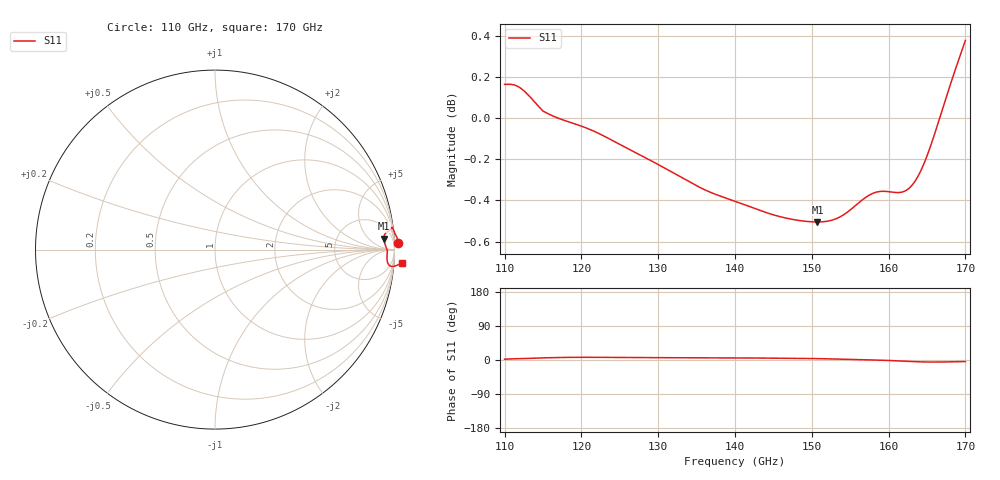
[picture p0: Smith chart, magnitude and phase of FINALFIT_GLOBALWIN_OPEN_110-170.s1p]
! Generated by Phase I extraction
# Hz S RI R 50
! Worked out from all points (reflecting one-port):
!   1471 points, 110 GHz to 170 GHz, reference 50 ohm
!   lowest |S11| = -0.5 dB at 150.7 GHz (marker M1), VSWR 34.41, Z = 777 + j855 ohm
!   phase of S11 starts at 2 deg and turns -6 deg over the sweep
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1.1e11  1.018 0.039
1.112245e11  1.017 0.0569
1.121633e11  1.015 0.0662
1.136735e11  1.007 0.0798
1.152245e11  0.9984 0.1003
1.175102e11  0.9923 0.1166
1.190204e11  0.9894 0.1222
1.206531e11  0.9867 0.1236
1.224082e11  0.9837 0.1212
1.250204e11  0.9787 0.1142
1.28e11  0.9729 0.1071
1.325306e11  0.9632 0.1012
1.4e11  0.9501 0.0919
1.427347e11  0.9465 0.0864
1.475102e11  0.942 0.073
1.507347e11  0.9416 0.0604
1.523673e11  0.943 0.0484
1.550204e11  0.9497 0.0229
1.575102e11  0.9578 0.00354
1.593878e11  0.9598 -0.0127
1.606531e11  0.9588 -0.0294
1.625306e11  0.9591 -0.0604
1.634694e11  0.9625 -0.0749
1.642449e11  0.9677 -0.0844
1.649796e11  0.9746 -0.0905
1.657551e11  0.9836 -0.0936
1.672653e11  1.004 -0.0911
1.7e11  1.042 -0.0742
